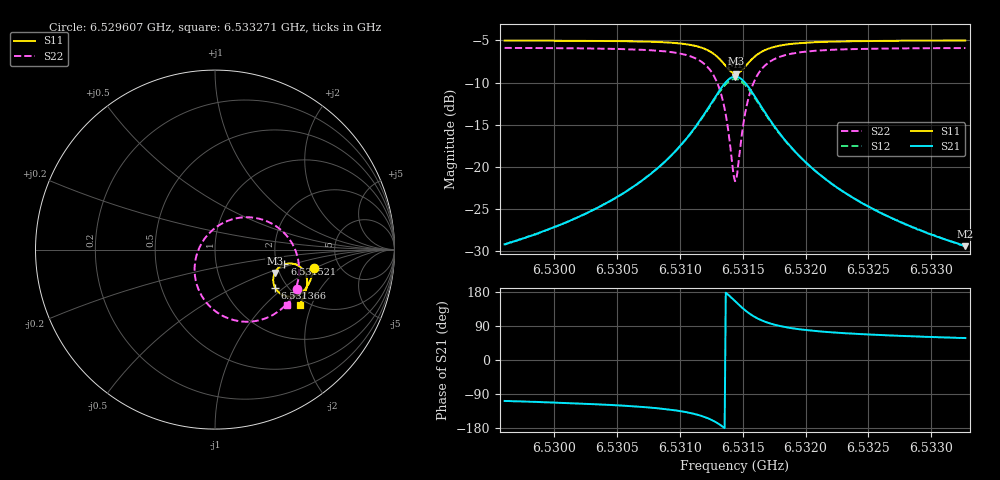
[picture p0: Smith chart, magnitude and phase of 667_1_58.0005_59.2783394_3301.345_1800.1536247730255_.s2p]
#  HZ  S  RI  R  50.00
! Rohde & Schwarz Vector Network Analyzer
! Rohde-Schwarz,ZNB20-2Port,1311601062101988,3.16
! Created: UTC 3/21/2024, 1:20:11 AM
! freq[Hz]  re:S11  im:S11  re:S21  im:S21  re:S12  im:S12  re:S22  im:S22
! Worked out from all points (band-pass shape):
!   401 points, 6.529607 GHz to 6.533271 GHz, reference 50 ohm
!   highest |S21| = -9.29 dB at 6.531439 GHz (marker M1); lowest = -29.4 dB at 6.533271 GHz (marker M2)
!   |S21| within 3 dB of the highest: 6.531257 GHz to 6.531624 GHz (366.3 kHz wide, 0.00561 % of centre)
!   lowest |S11| = -8.9 dB at 6.531448 GHz (marker M3), VSWR 2.11, Z = 94.3 - j28.3 ohm
!   |S11| at or under -10 dB: nowhere
!   |S22| runs from -21.7 to -5.9 dB; largest |S21 - S12| = 0.014
!   S11 on the Smith chart (normalised r, x): 6.529607 GHz: 3.24, -0.96; 6.531366 GHz: 1.73, -0.87; 6.531521 GHz: 2.20, -0.43; 6.533271 GHz: 1.83, -1.64
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6.5296065e9  0.5512 -0.1011  -0.0108 -0.0331  -0.0115 -0.0328  0.4582 -0.2183
6.5302204e9  0.5377 -0.1533  -0.0219 -0.0467  -0.0231 -0.0463  0.4218 -0.2765
6.5305502e9  0.5249 -0.185  -0.0354 -0.06  -0.0372 -0.0592  0.3863 -0.3165
6.5308342e9  0.505 -0.2175  -0.0611 -0.079  -0.0635 -0.0772  0.3288 -0.3604
6.5310449e9  0.4745 -0.2458  -0.1063 -0.0983  -0.1094 -0.0944  0.2384 -0.3956
6.5312098e9  0.4216 -0.2625  -0.189 -0.1005  -0.1908 -0.0922  0.0892 -0.3882
6.5313014e9  0.3708 -0.2498  -0.2667 -0.0619  -0.2638 -0.0504  -0.0369 -0.3077
6.5313381e9  0.3488 -0.2321  -0.2988 -0.0252  -0.2925 -0.0136  -0.0835 -0.24
6.5313656e9  0.3348 -0.2123  -0.3177 0.0128  -0.3085 0.0234  -0.1071 -0.1735
6.5314205e9  0.3249 -0.1587  -0.3231 0.1093  -0.31 0.1144  -0.0975 -0.0147
6.5314389e9  0.3292 -0.1397  -0.3125 0.1422  -0.2989 0.145  -0.0737 0.0368
6.531448e9  0.3328 -0.1306  -0.3046 0.1578  -0.2911 0.1592  -0.0582 0.0608
6.5314663e9  0.3427 -0.1138  -0.2845 0.1861  -0.2718 0.1853  -0.0203 0.1029
6.5315213e9  0.3862 -0.082  -0.2049 0.2384  -0.1965 0.2337  0.1189 0.1745
6.5315488e9  0.4093 -0.0772  -0.164 0.246  -0.1579 0.2412  0.1875 0.1802
6.5315854e9  0.4367 -0.0789  -0.1167 0.243  -0.1129 0.2385  0.266 0.1664
6.5316771e9  0.4816 -0.1027  -0.0404 0.2065  -0.039 0.2039  0.3889 0.0892
6.5318145e9  0.5072 -0.1424  0.00401 0.151  0.00525 0.1501  0.4541 -0.0206
6.5320527e9  0.5135 -0.1899  0.0215 0.096  0.0227 0.0955  0.4681 -0.1325
6.5323367e9  0.5071 -0.2267  0.0232 0.0644  0.0242 0.0641  0.4551 -0.2026
6.5326665e9  0.4955 -0.2589  0.0215 0.0457  0.0223 0.0453  0.4357 -0.2518
6.5332712e9  0.4712 -0.3059  0.018 0.0287  0.0186 0.0284  0.401 -0.3094
